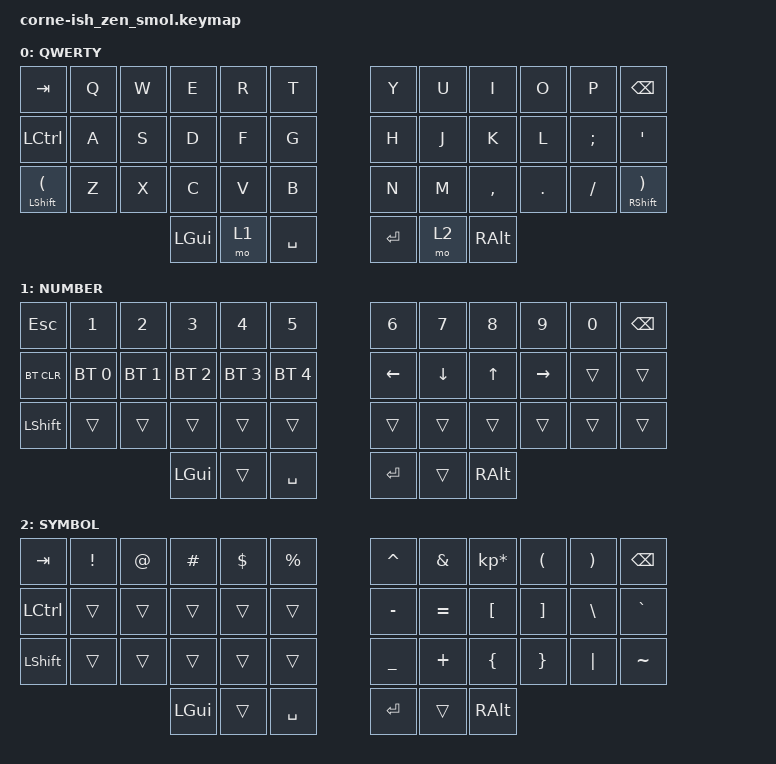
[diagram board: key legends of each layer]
/*
*
* Copyright (c) 2021 Darryl deHaan
* SPDX-License-Identifier: MIT
*
*/

#include <behaviors.dtsi>
#include <dt-bindings/zmk/keys.h>
#include <dt-bindings/zmk/bt.h>

#define QWERTY 0
#define LOWER 1
#define RAISE 2
#define FUNCT 3

/ {
    combos {
        compatible = "zmk,combos";
        combo_esc {
            timeout-ms = <50>;
            key-positions = <0 1>;
            bindings = <&kp ESC>;
        };
    };
};

/ {
    conditional_layers {
        compatible = "zmk,conditional-layers";
        tri_layer {
            if-layers = <1 2>;
            then-layer = <3>;
        };
    };
};

/ {
        keymap {
                compatible = "zmk,keymap";

                default_layer {
                        label = "QWERTY";
// -----------------------------------------------------------------------------------------
// |  TAB |  Q  |  W  |  E  |  R  |  T  |   |  Y  |  U   |  I  |  O  |  P  | BKSP |
// | CTRL |  A  |  S  |  D  |  F  |  G  |   |  H  |  J   |  K  |  L  |  ;  |  '   |
// | SHFT |  Z  |  X  |  C  |  V  |  B  |   |  N  |  M   |  ,  |  .  |  /  | ESC  |
//                    | GUI | LWR | SPC |   | ENT | RSE  | ALT |
                        bindings = <
   &kp TAB         &kp Q &kp W &kp E &kp R &kp T   &kp Y &kp U  &kp I     &kp O   &kp P    &kp BSPC
   &kp LCTRL       &kp A &kp S &kp D &kp F &kp G   &kp H &kp J  &kp K     &kp L   &kp SEMI &kp SQT
   &mt LSHIFT LPAR &kp Z &kp X &kp C &kp V &kp B   &kp N &kp M  &kp COMMA &kp DOT &kp FSLH &mt RSHIFT RPAR
                    &kp LGUI &mo 1 &kp SPACE   &kp RET &mo 2 &kp RALT
                        >;
                };
                lower_layer {
                        label = "NUMBER";
// -----------------------------------------------------------------------------------------
// |  TAB |  1  |  2  |  3  |  4  |  5  |   |  6  |  7  |  8  |  9  |  0  | BKSP |
// | BTCLR| BT1 | BT2 | BT3 | BT4 | BT5 |   | LFT | DWN |  UP | RGT |     |      |
// | SHFT |     |     |     |     |     |   |     |     |     |     |     |      |
//                    | GUI |     | SPC |   | ENT |     | ALT |
                        bindings = <
   &kp ESC    &kp N1       &kp N2       &kp N3       &kp N4       &kp N5         &kp N6   &kp N7   &kp N8 &kp N9    &kp N0 &kp BSPC
   &bt BT_CLR &bt BT_SEL 0 &bt BT_SEL 1 &bt BT_SEL 2 &bt BT_SEL 3 &bt BT_SEL 4   &kp LEFT &kp DOWN &kp UP &kp RIGHT &trans &trans
   &kp LSHFT  &trans       &trans       &trans       &trans       &trans         &trans   &trans   &trans &trans    &trans &trans
                          	        &kp LGUI     &trans       &kp SPACE      &kp RET  &trans   &kp RALT
                        >;
                };

                raise_layer {
                        label = "SYMBOL";
// -----------------------------------------------------------------------------------------
// |  TAB |  !  |  @  |  #  |  $  |  %  |   |  ^  |  &  |  *  |  (  |  )  | BKSP |
// | CTRL |     |     |     |     |     |   |  -  |  =  |  [  |  ]  |  \  |  `   |
// | SHFT |     |     |     |     |     |   |  _  |  +  |  {  |  }  | "|" |  ~   |
//                    | GUI |     | SPC |   | ENT |     | ALT |
                        bindings = <
   &kp  TAB  &kp EXCL &kp AT &kp HASH &kp DLLR &kp PRCNT   &kp CARET &kp AMPS  &kp KP_MULTIPLY &kp LPAR &kp RPAR &kp BSPC
   &kp LCTRL &trans   &trans &trans   &trans   &trans      &kp MINUS &kp EQUAL &kp LBKT        &kp RBKT &kp BSLH &kp GRAVE
   &kp LSHFT &trans   &trans &trans   &trans   &trans      &kp UNDER &kp PLUS  &kp LBRC        &kp RBRC &kp PIPE &kp TILDE
                    	     &kp LGUI &trans   &kp SPACE   &kp RET   &trans    &kp RALT
                        >;
                };
        };
};
